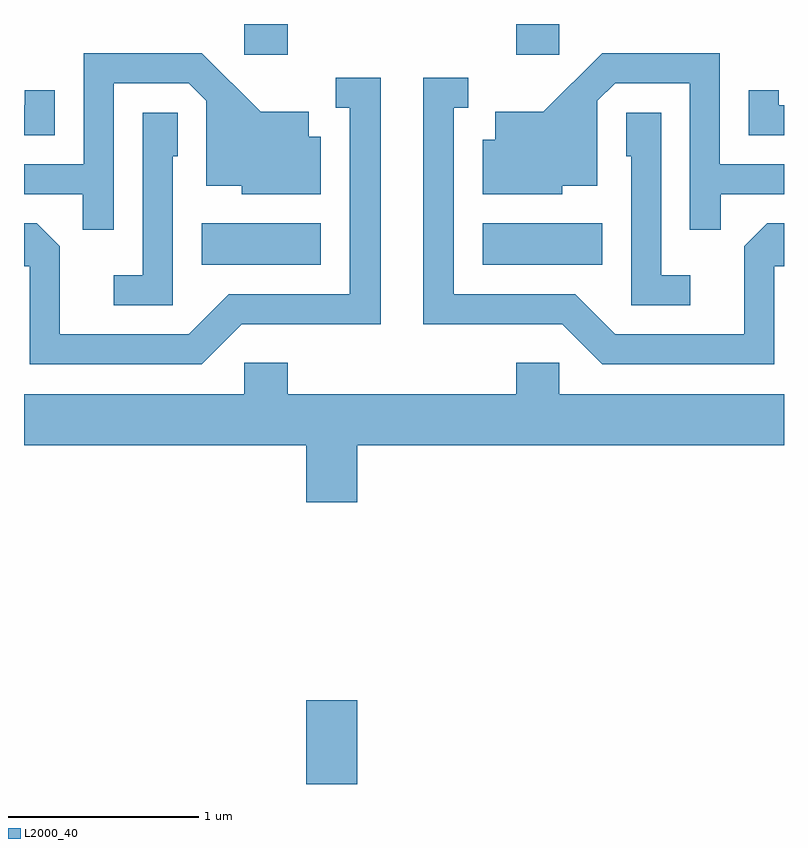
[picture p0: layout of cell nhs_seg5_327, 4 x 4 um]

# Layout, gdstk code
import gdstk
lib = gdstk.Library(unit=1e-6, precision=1e-09)
def R(c, l, rs):  # rectangles x0, y0, x1, y1
    for r in rs: c.add(gdstk.rectangle(r[:2], r[2:], *l))
def P(c, l, *ps):  # polygons
    for p in ps: c.add(gdstk.Polygon(p, *l))
L2000_40 = (2000, 40)

nhs_seg5_327 = lib.new_cell('nhs_seg5_327')
R(nhs_seg5_327, L2000_40, [(195.096,1506.072,195.364,1506.514), (194.546,1508.806,195.174,1509.024), (196.026,1508.806,196.654,1509.024), (194.771,1509.911,194.999,1510.072), (196.201,1509.911,196.429,1510.072)])
P(nhs_seg5_327, L2000_40, [(197.279,1509.176),(197.611,1509.176),(197.611,1509.334),(197.274,1509.334),(197.274,1509.919),(196.654,1509.919),(196.344,1509.609),(196.091,1509.609),(196.091,1509.464),(196.026,1509.464),(196.026,1509.176),(196.444,1509.176),(196.444,1509.221),(196.629,1509.221),(196.629,1509.669),(196.722,1509.761),(197.116,1509.761),(197.116,1508.988),(197.279,1508.988)],
  [(194.084,1509.761),(194.479,1509.761),(194.571,1509.669),(194.571,1509.221),(194.756,1509.221),(194.756,1509.176),(195.174,1509.176),(195.174,1509.479),(195.109,1509.479),(195.109,1509.609),(194.857,1509.609),(194.547,1509.919),(193.926,1509.919),(193.926,1509.334),(193.611,1509.334),(193.611,1509.176),(193.921,1509.176),(193.921,1508.988),(194.084,1508.988)],
  [(197.559,1508.796),(197.611,1508.796),(197.611,1509.024),(197.524,1509.024),(197.401,1508.902),(197.401,1508.439),(196.722,1508.439),(196.512,1508.649),(195.874,1508.649),(195.874,1509.631),(195.948,1509.631),(195.948,1509.789),(195.711,1509.789),(195.711,1508.491),(196.444,1508.491),(196.654,1508.281),(197.559,1508.281)],
  [(194.757,1508.491),(195.489,1508.491),(195.489,1509.789),(195.253,1509.789),(195.253,1509.631),(195.326,1509.631),(195.326,1508.649),(194.689,1508.649),(194.479,1508.439),(193.799,1508.439),(193.799,1508.902),(193.677,1509.024),(193.611,1509.024),(193.611,1508.796),(193.641,1508.796),(193.641,1508.281),(194.547,1508.281)],
  [(193.774,1509.723),(193.616,1509.723),(193.616,1509.644),(193.611,1509.644),(193.611,1509.486),(193.774,1509.486)],
  [(197.611,1509.644),(197.584,1509.644),(197.584,1509.723),(197.426,1509.723),(197.426,1509.486),(197.611,1509.486)],
  [(197.118,1508.749),(196.964,1508.749),(196.964,1509.604),(196.781,1509.604),(196.781,1509.376),(196.806,1509.376),(196.806,1508.591),(197.118,1508.591)],
  [(194.394,1509.376),(194.419,1509.376),(194.419,1509.604),(194.236,1509.604),(194.236,1508.749),(194.083,1508.749),(194.083,1508.591),(194.394,1508.591)],
  [(195.364,1507.856),(197.611,1507.856),(197.611,1508.124),(196.429,1508.124),(196.429,1508.289),(196.201,1508.289),(196.201,1508.124),(194.999,1508.124),(194.999,1508.289),(194.771,1508.289),(194.771,1508.124),(193.611,1508.124),(193.611,1507.856),(195.096,1507.856),(195.096,1507.556),(195.364,1507.556)])

lib.write_gds('nhs_seg5_327.gds')
